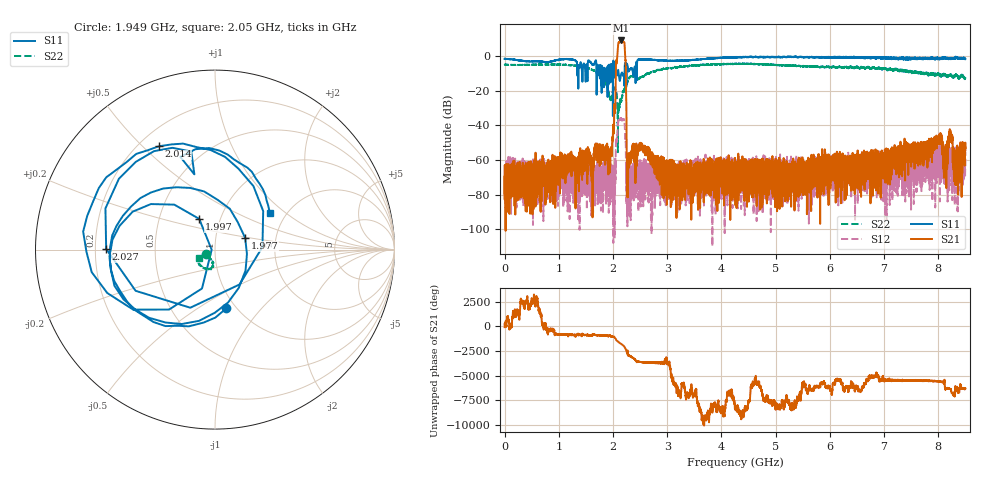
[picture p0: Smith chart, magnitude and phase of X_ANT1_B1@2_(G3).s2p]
#  HZ  S  RI  R  50.00
! Rohde & Schwarz Vector Network Analyzer
! Rohde-Schwarz,ZNBT8-20Port,1318700624101681,3.50
! Created: UTC 7/15/2025, 2:08:02 PM
! freq[Hz]  re:S1010  im:S1010  re:S0510  im:S0510  re:S1005  im:S1005  re:S55  im:S55
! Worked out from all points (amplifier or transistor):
!   8500 points, 1 MHz to 8.5 GHz, reference 50 ohm
!   highest |S21| = 9.0 dB at 2.143 GHz (marker M1)
!   |S21| within 3 dB of that: 2.094 GHz to 2.215 GHz (121.5 MHz wide, 5.64 % of centre)
!   unconditionally stable (mu >= 1): start of sweep to end of sweep
!   at 1.417 GHz: K = 783418.13, MAG = -58.8 dB, |S12| = -68.0 dB
!   at 4.251 GHz: K = 1149523.16, MAG = -55.8 dB, |S12| = -81.6 dB
!   at 8.5 GHz: K = 137461.75, MAG = -48.2 dB, |S12| = -65.6 dB
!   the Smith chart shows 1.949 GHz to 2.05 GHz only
!   S11 on the Smith chart (normalised r, x): 1.949 GHz: 0.90, -0.67; 1.977 GHz: 1.39, +0.19; 1.997 GHz: 0.79, +0.28; 2.014 GHz: 0.28, +0.56; 2.027 GHz: 0.25, +0.00; 2.05 GHz: 1.65, +0.78
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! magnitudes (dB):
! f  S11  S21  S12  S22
! 1 MHz  -1.7  -69.7  -74.6  -5.1
! 1.418 GHz  -5.1  -66.9  -67.3  -6.1
! 1.949 GHz  -9.5  -60.0  -75.2  -25.2
! 1.977 GHz  -14.9  -57.5  -66.6  -23.5
! 1.997 GHz  -14.3  -47.0  -69.3  -20.5
! 2.014 GHz  -3.7  -43.5  -63.3  -19.0
! 2.027 GHz  -4.3  -27.7  -64.1  -18.3
! 2.05 GHz  -8.7  -15.3  -58.6  -20.2
! 2.093 GHz  -8.1  5.8  -38.9  -36.6
! 2.143 GHz  -11.7  9.0  -36.1  -25.3
! 2.205 GHz  -13.3  8.0  -37.1  -19.2
! 2.293 GHz  -8.4  -61.5  -75.8  -12.9
! 2.518 GHz  -1.9  -51.8  -62.2  -12.2
! 2.834 GHz  -2.4  -65.0  -73.1  -8.1
! 4.251 GHz  -0.7  -66.0  -81.6  -4.5
! 5.667 GHz  -0.4  -68.2  -78.3  -6.1
! 7.084 GHz  -1.2  -61.0  -65.6  -7.3
! 8.023 GHz  -1.4  -48.9  -54.7  -10.5
! 8.129 GHz  -1.5  -57.3  -69.2  -11.5
! 8.223 GHz  -1.7  -45.5  -53.3  -10.6
! 8.331 GHz  -1.0  -56.9  -64.8  -11.3
! 8.5 GHz  -1.8  -53.2  -65.6  -12.4
